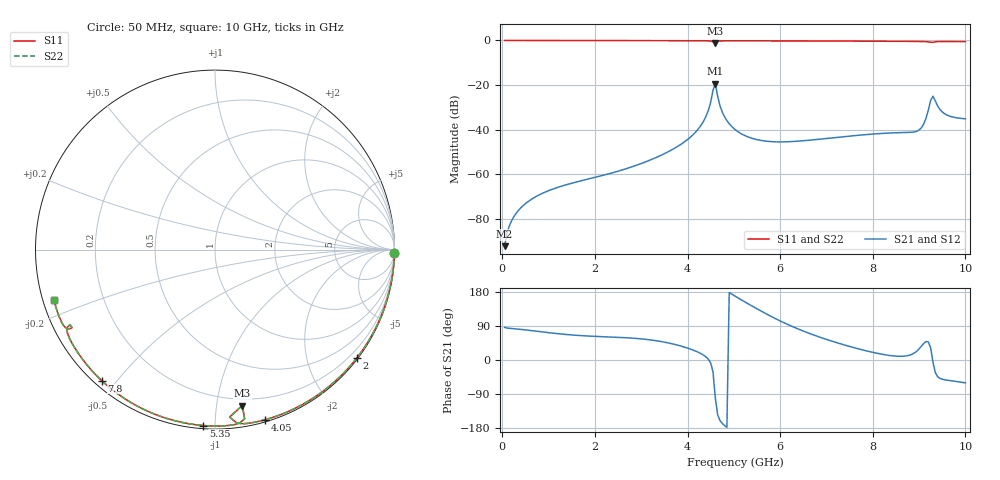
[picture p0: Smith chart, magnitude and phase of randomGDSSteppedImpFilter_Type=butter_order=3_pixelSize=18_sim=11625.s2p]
! freq	dB(S11)	phase(S11)	dB(S12)	phase(S12)
!  dB(S21)	phase(S21)	dB(S22)	phase(S22)
!S-par simulation data
#  GHz  S  DB  R 50
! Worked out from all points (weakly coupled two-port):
!   200 points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, 50 MHz to 10 GHz, reference 50 ohm
!   highest |S21| = -19.36 dB at 4.6 GHz (marker M1); lowest = -92.1 dB at 50 MHz (marker M2)
!   lowest |S11| = -1.1 dB at 4.6 GHz (marker M3), VSWR 15.94, Z = 7.54 - j59 ohm
!   |S11| at or under -10 dB: nowhere
!   |S22| runs from -1.1 to 0.0 dB; largest |S21 - S12| = 0
!   S11 on the Smith chart (normalised r, x): 50 MHz: open; 2 GHz: 0.03, -2.95; 4.05 GHz: 0.02, -1.34; 5.35 GHz: 0.02, -0.94; 7.8 GHz: 0.02, -0.46; 10 GHz: 0.03, -0.15
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0.05  -0.00 -1.0  -92.13 85.9  -92.13 85.9  -0.00 -1.0
0.2  -0.00 -3.8  -80.79 83.3  -80.79 83.3  -0.00 -3.8
0.45  -0.01 -8.6  -73.96 80.3  -73.96 80.3  -0.01 -8.6
0.8  -0.02 -15.2  -69.12 75.0  -69.12 75.0  -0.02 -15.2
1.75  -0.04 -32.9  -62.60 63.9  -62.60 63.9  -0.04 -32.9
2  -0.05 -37.5  -61.31 62.3  -61.31 62.3  -0.05 -37.5
3.4  -0.08 -62.4  -51.69 49.3  -51.69 49.3  -0.08 -62.4
4.05  -0.10 -73.6  -43.52 29.4  -43.52 29.4  -0.10 -73.6
4.4  -0.14 -80.1  -33.93 8.0  -33.93 8.0  -0.14 -80.2
4.55  -0.57 -85.0  -22.32 -31.5  -22.32 -31.5  -0.57 -85.0
4.6  -1.09 -80.1  -19.36 -100.3  -19.36 -100.3  -1.09 -80.1
4.75  -0.18 -83.2  -32.07 -167.2  -32.07 -167.2  -0.18 -83.2
5.05  -0.15 -88.9  -40.27 166.8  -40.27 166.8  -0.15 -88.9
5.35  -0.15 -93.8  -43.54 145.5  -43.54 145.5  -0.15 -93.8
6.7  -0.22 -114.6  -44.53 67.0  -44.53 67.0  -0.22 -114.6
7.8  -0.31 -130.8  -42.25 26.0  -42.25 26.0  -0.31 -130.8
8.35  -0.36 -138.9  -41.46 12.1  -41.46 12.1  -0.36 -138.9
9  -0.45 -148.7  -40.10 29.1  -40.10 29.1  -0.45 -148.7
9.1  -0.50 -150.4  -37.42 43.5  -37.42 43.5  -0.50 -150.4
9.3  -0.84 -151.3  -24.96 -5.9  -24.96 -5.9  -0.84 -151.3
9.55  -0.48 -155.6  -32.79 -52.1  -32.79 -52.1  -0.48 -155.6
10  -0.53 -162.7  -35.08 -60.4  -35.08 -60.4  -0.53 -162.7
